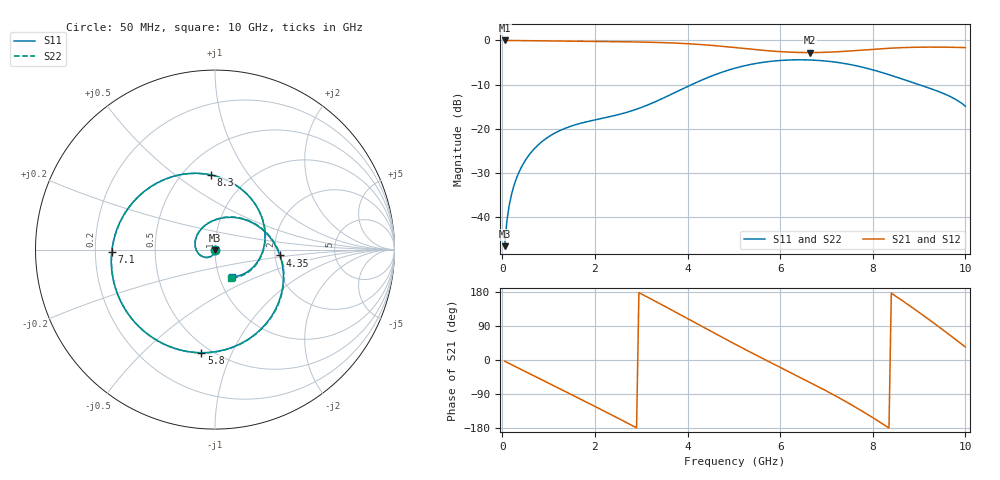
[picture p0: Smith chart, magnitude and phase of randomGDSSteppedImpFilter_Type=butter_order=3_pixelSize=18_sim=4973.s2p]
! freq	dB(S11)	phase(S11)	dB(S12)	phase(S12)
!  dB(S21)	phase(S21)	dB(S22)	phase(S22)
!S-par simulation data
#  GHz  S  DB  R 50
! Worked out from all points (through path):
!   200 points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, 50 MHz to 10 GHz, reference 50 ohm
!   highest |S21| = -0.01 dB at 50 MHz (marker M1); lowest = -2.8 dB at 6.65 GHz (marker M2)
!   group delay of S21, straight-line fit = 185 ps
!   lowest |S11| = -46.6 dB at 50 MHz (marker M3), VSWR 1.01, Z = 50 - j0.464 ohm
!   |S11| at or under -10 dB: start of sweep to 4.093 GHz; 8.992 GHz to end of sweep
!   |S22| runs from -46.6 to -4.4 dB; largest |S21 - S12| = 0
!   S11 on the Smith chart (normalised r, x): 50 MHz: 1.00, -0.01; 4.35 GHz: 2.12, -0.16; 5.8 GHz: 0.45, -0.77; 7.1 GHz: 0.27, -0.01; 8.3 GHz: 0.68, +0.68; 10 GHz: 1.15, -0.36
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0.05  -46.65 -86.4  -0.01 -3.1  -0.01 -3.1  -46.64 -86.4
0.1  -40.82 -92.7  -0.01 -6.2  -0.01 -6.2  -40.82 -92.7
0.2  -34.88 -100.8  -0.02 -12.3  -0.02 -12.3  -34.88 -100.7
0.5  -27.16 -120.7  -0.05 -30.6  -0.05 -30.6  -27.15 -120.5
1.15  -20.92 -161.4  -0.12 -70.3  -0.12 -70.3  -20.92 -161.0
1.75  -18.63 161.4  -0.19 -107.0  -0.19 -107.0  -18.63 162.1
2.65  -16.42 104.9  -0.30 -163.1  -0.30 -163.1  -16.41 106.1
3.4  -13.45 56.8  -0.47 148.8  -0.47 148.8  -13.45 58.1
3.9  -10.96 24.3  -0.68 115.9  -0.68 115.9  -10.95 25.5
4.35  -8.80 -5.2  -0.98 86.1  -0.98 86.1  -8.80 -4.1
5.05  -6.22 -50.5  -1.65 40.3  -1.65 40.3  -6.22 -49.6
5.8  -4.74 -97.5  -2.39 -7.0  -2.39 -7.0  -4.74 -96.7
6.65  -4.44 -149.9  -2.75 -59.4  -2.75 -59.4  -4.44 -149.2
6.7  -4.46 -153.0  -2.75 -62.6  -2.75 -62.6  -4.46 -152.4
7.1  -4.80 -178.9  -2.64 -88.3  -2.64 -88.3  -4.80 -178.3
7.7  -5.88 139.4  -2.25 -129.8  -2.25 -129.8  -5.88 139.8
8.3  -7.60 93.0  -1.81 -175.6  -1.81 -175.6  -7.61 93.1
8.35  -7.77 89.0  -1.78 -179.6  -1.78 -179.6  -7.78 88.9
8.8  -9.32 51.1  -1.58 142.9  -1.58 142.9  -9.33 50.5
9.25  -10.93 11.6  -1.51 103.5  -1.51 103.5  -10.94 10.1
9.6  -12.37 -19.9  -1.54 71.7  -1.54 71.7  -12.37 -22.3
10  -14.91 -57.3  -1.63 34.3  -1.63 34.3  -14.89 -61.2
